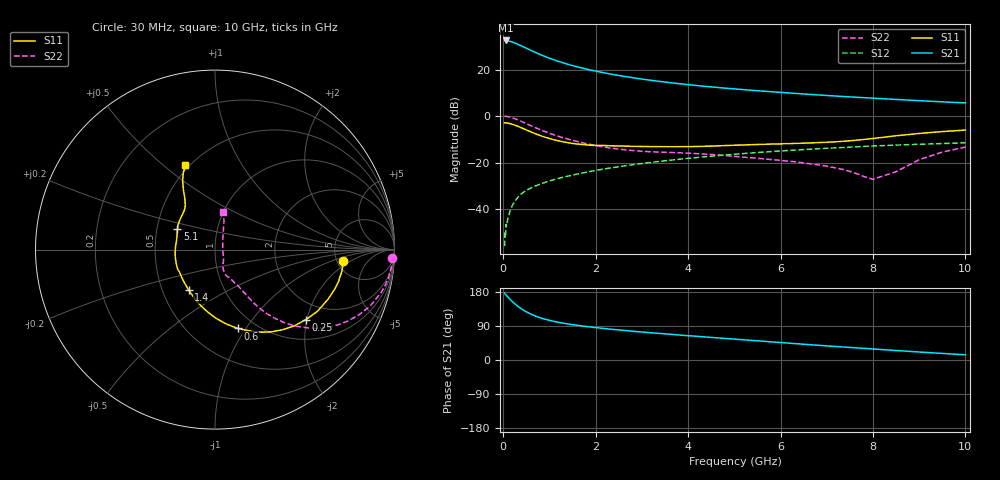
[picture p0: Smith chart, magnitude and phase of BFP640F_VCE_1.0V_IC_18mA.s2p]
! Infineon Technologies  Discrete & RF Semiconductors
! BFP640F
! VCE =  1.0 V,  IC =  18 mA
! Common Emitter S-Parameters:  Apr 2013
# GHz  S  MA  R  50
!  f  S11  S21  S12  S22
! GHz  MAG  ANG  MAG  ANG  MAG  ANG  MAG  ANG
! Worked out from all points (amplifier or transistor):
!   99 points, 30 MHz to 10 GHz, reference 50 ohm
!   highest |S21| = 32.5 dB at 50 MHz (marker M1)
!   |S21| within 3 dB of that: start of sweep to 465.4 MHz
!   unconditionally stable (mu >= 1): 2.38 GHz to end of sweep
!   at 350 MHz: K = 0.33, MSG = 32.4 dB, |S12| = -34.2 dB
!   at 3.5 GHz: K = 1.04, MAG = 15.7 dB, |S12| = -19.2 dB
!   at 10 GHz: K = 1.05, MAG = 7.2 dB, |S12| = -11.5 dB
!   S11 on the Smith chart (normalised r, x): 30 MHz: 5.69, -1.50; 250 MHz: 1.50, -1.98; 600 MHz: 0.83, -0.92; 1.4 GHz: 0.68, -0.33; 5.1 GHz: 0.64, +0.15; 10 GHz: 0.47, +0.60
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0.03  0.718 -5.1  41.48 176.3  0.0016 90.0  0.9861 -2.6
0.05  0.7165 -8.4  42.3 173.5  0.0027 90.3  0.9876 -4.7
0.08  0.7115 -12.9  42.07 169.1  0.0048 83.0  0.9803 -8.0
0.15  0.6872 -23.8  40.39 159.9  0.0091 80.4  0.9503 -15.3
0.2  0.6669 -30.9  38.92 153.9  0.0121 79.6  0.9196 -20.0
0.25  0.6401 -37.5  37.34 148.4  0.0148 73.8  0.8822 -24.2
0.3  0.6138 -43.7  35.65 143.3  0.0171 74.1  0.8425 -28.1
0.4  0.5567 -55.3  32.16 134.4  0.0216 69.5  0.7624 -34.5
0.5  0.5045 -65.0  28.82 127.1  0.0253 68.1  0.6867 -39.6
0.6  0.4567 -74.0  25.9 120.9  0.0285 66.5  0.6201 -43.5
0.7  0.4168 -81.9  23.31 115.8  0.0316 64.8  0.5613 -46.5
0.8  0.3822 -89.2  21.09 111.5  0.0344 64.4  0.5105 -48.8
0.9  0.3535 -95.8  19.21 107.8  0.0375 64.4  0.466 -50.7
1.1  0.3093 -107.9  16.19 101.8  0.0431 63.8  0.3952 -53.2
1.4  0.2687 -123.2  13.01 95.2  0.0512 63.3  0.3204 -55.2
1.7  0.2458 -136.7  10.85 89.9  0.0597 63.0  0.2687 -56.3
2.4  0.2292 -160.6  7.783 80.5  0.0788 61.1  0.2014 -60.4
3.4  0.2207 176.3  5.55 69.9  0.1068 57.4  0.1679 -64.8
5.1  0.238 151.7  3.776 54.2  0.1539 49.0  0.1342 -68.0
6.7  0.2665 133.2  2.904 39.8  0.1958 39.4  0.0928 -61.3
8.5  0.3775 117.8  2.284 25.0  0.2384 28.3  0.0639 47.7
10  0.5015 109.2  1.92 13.7  0.2668 19.5  0.2163 77.8
